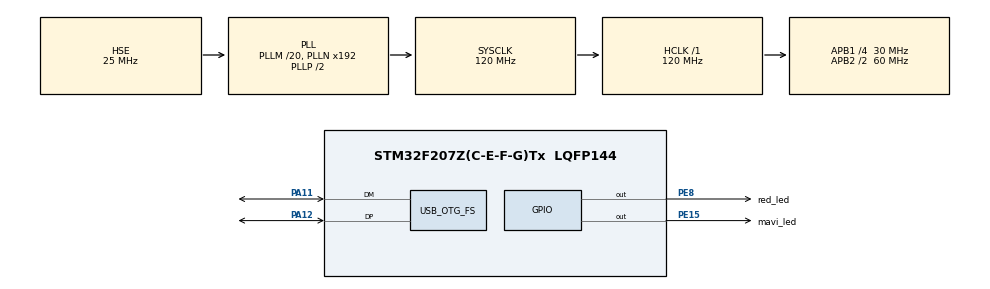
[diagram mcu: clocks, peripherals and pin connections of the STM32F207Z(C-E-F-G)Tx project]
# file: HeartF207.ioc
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Mcu.Family=STM32F2
Mcu.Name=STM32F207Z(C-E-F-G)Tx
Mcu.Package=LQFP144
NVIC.OTG_FS_IRQn=true\:0\:0\:false\:false\:true\:false\:true\:true
NVIC.PriorityGroup=NVIC_PRIORITYGROUP_4
PA11.Mode=Device_Only
PA11.Signal=USB_OTG_FS_DM
PA12.Mode=Device_Only
PA12.Signal=USB_OTG_FS_DP
PE15.GPIO_Label=mavi_led
PE15.Signal=GPIO_Output
PE8.GPIO_Label=red_led
PE8.Signal=GPIO_Output
PH0-OSC_IN.Mode=HSE-External-Oscillator
PH0-OSC_IN.Signal=RCC_OSC_IN
PH1-OSC_OUT.Mode=HSE-External-Oscillator
PH1-OSC_OUT.Signal=RCC_OSC_OUT
ProjectManager.HeapSize=0x200
ProjectManager.StackSize=0x400
ProjectManager.TargetToolchain=STM32CubeIDE
RCC.48MHZClocksFreq_Value=48000000
RCC.AHBFreq_Value=120000000
RCC.APB1CLKDivider=RCC_HCLK_DIV4
RCC.APB1Freq_Value=30000000
RCC.APB1TimFreq_Value=60000000
RCC.APB2CLKDivider=RCC_HCLK_DIV2
RCC.APB2Freq_Value=60000000
RCC.APB2TimFreq_Value=120000000
RCC.CortexFreq_Value=120000000
RCC.HCLKFreq_Value=120000000
RCC.HSE_VALUE=25000000
RCC.HSI_VALUE=16000000
RCC.LSE_VALUE=32768
RCC.PLLM=20
RCC.PLLQ=5
RCC.PLLSourceVirtual=RCC_PLLSOURCE_HSE
RCC.SYSCLKFreq_VALUE=120000000
RCC.SYSCLKSource=RCC_SYSCLKSOURCE_PLLCLK
RCC.VCOOutputFreq_Value=240000000
USB_DEVICE.CLASS_NAME_FS=CDC
USB_DEVICE.PRODUCT_STRING_CDC_FS=Fixaj Virtual ComPort
USB_DEVICE.VirtualMode-CDC_FS=Cdc
USB_DEVICE.VirtualModeFS=Cdc_FS
USB_OTG_FS.VirtualMode=Device_Only
VP_USB_DEVICE_VS_USB_DEVICE_CDC_FS.Mode=CDC_FS
board=custom

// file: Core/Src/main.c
/* USER CODE BEGIN Header */
/**
 ******************************************************************************
 * @file           : main.c
 * @brief          : Main program body
 ******************************************************************************
 * @attention
 *
 * Copyright (c) 2025 STMicroelectronics.
 * All rights reserved.
 *
 * This software is licensed under terms that can be found in the LICENSE file
 * in the root directory of this software component.
 * If no LICENSE file comes with this software, it is provided AS-IS.
 *
 ******************************************************************************
 */
/* USER CODE END Header */
#include "main.h"
#include "usb_device.h"

/* USER CODE BEGIN Includes */
#include "usbd_cdc_if.h"
#include <stdio.h>
/* USER CODE END Includes */

/* USER CODE BEGIN PV */
int _write(int file, char *ptr, int len) {
	uint8_t ret;
	uint32_t timeout = 100;  // 100 ms kadar beklesin

	while ((ret = CDC_Transmit_FS((uint8_t*) ptr, len)) == USBD_BUSY
			&& timeout--) {
		HAL_Delay(1);
	}

	if (ret != USBD_OK) {
		// İsteğe bağlı: hata durumunda log veya LED yanması vs.
	}

	return len;
}
/* USER CODE END PV */

void SystemClock_Config(void);
static void MX_GPIO_Init(void);

/* USER CODE BEGIN 0 */
extern uint32_t SystemCoreClock;

// Saat bilgilerini yazdıran fonksiyon
void print_clock_debug_info(void) {
	// 1. Sistem saat frekansları
	printf("SystemCoreClock: %lu Hz\r\n", SystemCoreClock);
	printf("HCLK: %lu Hz\r\n", HAL_RCC_GetHCLKFreq());
	printf("PCLK1: %lu Hz\r\n", HAL_RCC_GetPCLK1Freq());
	printf("PCLK2: %lu Hz\r\n", HAL_RCC_GetPCLK2Freq());

	switch (__HAL_RCC_GET_SYSCLK_SOURCE()) {
	case RCC_SYSCLKSOURCE_STATUS_HSI:
		printf("SYSCLK kaynağı: HSI (Dahili RC osilatör)\r\n");
		break;
	case RCC_SYSCLKSOURCE_STATUS_HSE:
		printf("SYSCLK kaynağı: HSE (Harici kristal)\r\n");
		break;
	case RCC_SYSCLKSOURCE_STATUS_PLLCLK:
		printf("SYSCLK kaynağı: PLLCLK\r\n");

		if ((RCC->PLLCFGR & RCC_PLLCFGR_PLLSRC) == RCC_PLLCFGR_PLLSRC_HSE) {
			printf("PLL kaynağı: HSE (Harici kristal)\r\n");
		} else {
			printf("PLL kaynağı: HSI (Dahili RC osilatör)\r\n");
		}
		break;
	default:
		printf("SYSCLK kaynağı: Bilinmiyor\r\n");
		break;
	}

	// 3. HSE durumu
	if (__HAL_RCC_GET_FLAG(RCC_FLAG_HSERDY)) {
		printf("HSE durumu: AKTİF ve STABİL\r\n");
	} else {
		printf("HSE durumu: BAŞARISIZ veya YOK\r\n");
	}
}
/* USER CODE END 0 */

int main(void) {

	/* MCU Configuration--------------------------------------------------------*/

	/* Reset of all peripherals, Initializes the Flash interface and the Systick. */
	HAL_Init();

	/* Configure the system clock */
	SystemClock_Config();

	/* Initialize all configured peripherals */
	MX_GPIO_Init();
	MX_USB_DEVICE_Init();

	/* Infinite loop */
	/* USER CODE BEGIN WHILE */
	printf("Fixaj.com Sistem Başlatılıyor...\r\n");
	HAL_Delay(5000);
	print_clock_debug_info();
	while (1) {
		HAL_GPIO_TogglePin(red_led_GPIO_Port, red_led_Pin);
		HAL_Delay(1000);
		HAL_GPIO_TogglePin(mavi_led_GPIO_Port, mavi_led_Pin);
		HAL_Delay(1000);
		/* USER CODE END WHILE */

	}
}

void SystemClock_Config(void) {
	RCC_OscInitTypeDef RCC_OscInitStruct = { 0 };
	RCC_ClkInitTypeDef RCC_ClkInitStruct = { 0 };

	/** Initializes the RCC Oscillators according to the specified parameters
	 * in the RCC_OscInitTypeDef structure.
	 */
	RCC_OscInitStruct.OscillatorType = RCC_OSCILLATORTYPE_HSE;
	RCC_OscInitStruct.HSEState = RCC_HSE_ON;
	RCC_OscInitStruct.PLL.PLLState = RCC_PLL_ON;
	RCC_OscInitStruct.PLL.PLLSource = RCC_PLLSOURCE_HSE;
	RCC_OscInitStruct.PLL.PLLM = 20;
	RCC_OscInitStruct.PLL.PLLN = 192;
	RCC_OscInitStruct.PLL.PLLP = RCC_PLLP_DIV2;
	RCC_OscInitStruct.PLL.PLLQ = 5;
	if (HAL_RCC_OscConfig(&RCC_OscInitStruct) != HAL_OK) {
		Error_Handler();
	}

	/** Initializes the CPU, AHB and APB buses clocks
	 */
	RCC_ClkInitStruct.ClockType = RCC_CLOCKTYPE_HCLK | RCC_CLOCKTYPE_SYSCLK
			| RCC_CLOCKTYPE_PCLK1 | RCC_CLOCKTYPE_PCLK2;
	RCC_ClkInitStruct.SYSCLKSource = RCC_SYSCLKSOURCE_PLLCLK;
	RCC_ClkInitStruct.AHBCLKDivider = RCC_SYSCLK_DIV1;
	RCC_ClkInitStruct.APB1CLKDivider = RCC_HCLK_DIV4;
	RCC_ClkInitStruct.APB2CLKDivider = RCC_HCLK_DIV2;

	if (HAL_RCC_ClockConfig(&RCC_ClkInitStruct, FLASH_LATENCY_3) != HAL_OK) {
		Error_Handler();
	}
}

static void MX_GPIO_Init(void) {
	GPIO_InitTypeDef GPIO_InitStruct = { 0 };

	/* GPIO Ports Clock Enable */
	__HAL_RCC_GPIOH_CLK_ENABLE();
	__HAL_RCC_GPIOE_CLK_ENABLE();
	__HAL_RCC_GPIOA_CLK_ENABLE();

	/*Configure GPIO pin Output Level */
	HAL_GPIO_WritePin(GPIOE, red_led_Pin | mavi_led_Pin, GPIO_PIN_RESET);

	/*Configure GPIO pins : red_led_Pin mavi_led_Pin */
	GPIO_InitStruct.Pin = red_led_Pin | mavi_led_Pin;
	GPIO_InitStruct.Mode = GPIO_MODE_OUTPUT_PP;
	GPIO_InitStruct.Pull = GPIO_NOPULL;
	GPIO_InitStruct.Speed = GPIO_SPEED_FREQ_LOW;
	HAL_GPIO_Init(GPIOE, &GPIO_InitStruct);

}

void Error_Handler(void) {
	__disable_irq();
	while (1) {
	}
}
